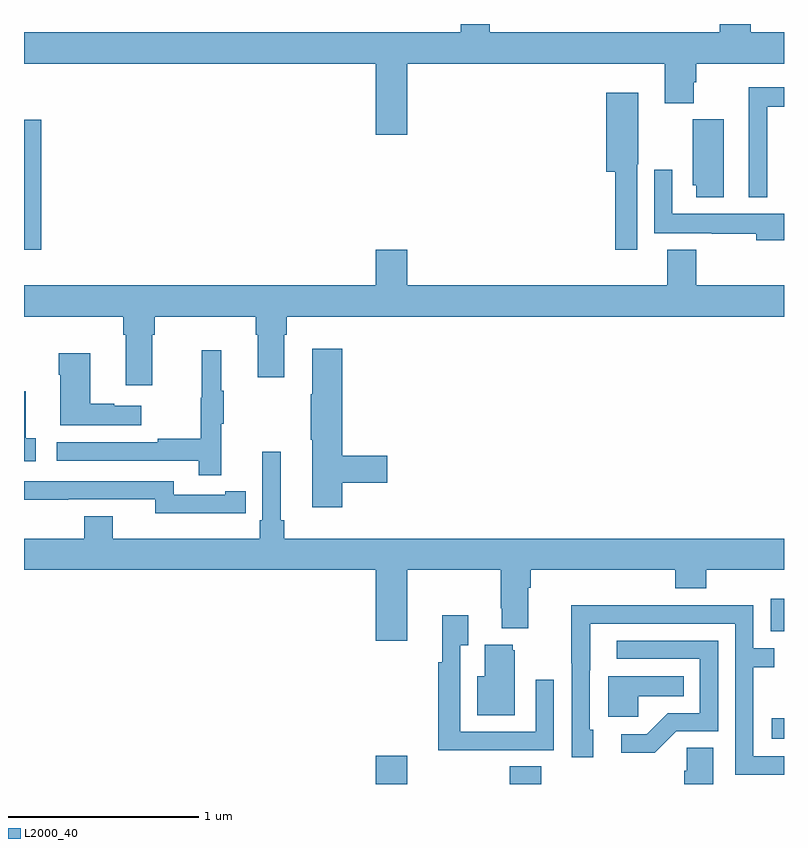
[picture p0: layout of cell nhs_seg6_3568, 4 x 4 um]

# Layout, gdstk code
import gdstk
lib = gdstk.Library(unit=1e-6, precision=1e-09)
def R(c, l, rs):  # rectangles x0, y0, x1, y1
    for r in rs: c.add(gdstk.rectangle(r[:2], r[2:], *l))
def P(c, l, *ps):  # polygons
    for p in ps: c.add(gdstk.Polygon(p, *l))
L2000_40 = (2000, 40)

nhs_seg6_3568 = lib.new_cell('nhs_seg6_3568')
R(nhs_seg6_3568, L2000_40, [(320.852,987.5,321.016,987.649), (321.557,987.5,321.722,987.593), (322.935,987.737,323,987.847), (322.929,988.305,323,988.474), (319,990.312,319.091,990.997)])
P(nhs_seg6_3568, L2000_40, [(321.016,991.292),(322.373,991.292),(322.373,991.084),(322.525,991.084),(322.525,991.193),(322.538,991.193),(322.538,991.292),(323,991.292),(323,991.456),(322.826,991.456),(322.826,991.5),(322.661,991.5),(322.661,991.456),(321.45,991.456),(321.45,991.5),(321.299,991.5),(321.299,991.456),(319,991.456),(319,991.292),(320.852,991.292),(320.852,990.918),(321.016,990.918)],
  [(322.911,991.064),(323,991.064),(323,991.168),(322.814,991.168),(322.814,990.587),(322.911,990.587)],
  [(322.227,990.762),(322.234,990.762),(322.234,991.138),(322.064,991.138),(322.064,990.722),(322.111,990.722),(322.111,990.312),(322.227,990.312)],
  [(322.684,990.999),(322.52,990.999),(322.52,990.651),(322.538,990.651),(322.538,990.588),(322.684,990.588)],
  [(323,990.502),(322.413,990.502),(322.413,990.733),(322.317,990.733),(322.317,990.398),(322.621,990.398),(322.621,990.396),(322.853,990.396),(322.853,990.362),(323,990.362)],
  [(319.675,989.864),(319.688,989.864),(319.688,989.96),(320.219,989.96),(320.219,989.864),(320.231,989.864),(320.231,989.64),(320.371,989.64),(320.371,989.864),(320.384,989.864),(320.384,989.96),(323,989.96),(323,990.124),(322.538,990.124),(322.538,990.313),(322.385,990.313),(322.385,990.124),(321.016,990.124),(321.016,990.313),(320.852,990.313),(320.852,990.124),(319,990.124),(319,989.96),(319.523,989.96),(319.523,989.864),(319.535,989.864),(319.535,989.598),(319.675,989.598)],
  [(320.675,989.086),(320.911,989.086),(320.911,989.228),(320.675,989.228),(320.675,989.791),(320.516,989.791),(320.516,989.552),(320.509,989.552),(320.509,989.311),(320.516,989.311),(320.516,988.956),(320.675,988.956)],
  [(320.039,989.395),(320.05,989.395),(320.05,989.569),(320.039,989.569),(320.039,989.782),(319.936,989.782),(319.936,989.532),(319.929,989.532),(319.929,989.318),(319.705,989.318),(319.705,989.298),(319.173,989.298),(319.173,989.202),(319.921,989.202),(319.921,989.124),(320.039,989.124)],
  [(319.618,989.491),(319.475,989.491),(319.475,989.501),(319.348,989.501),(319.348,989.767),(319.183,989.767),(319.183,989.654),(319.19,989.654),(319.19,989.387),(319.618,989.387)],
  [(319.063,989.319),(319.01,989.319),(319.01,989.566),(319,989.566),(319,989.199),(319.063,989.199)],
  [(321.016,988.628),(321.508,988.628),(321.508,988.426),(321.515,988.426),(321.515,988.319),(321.655,988.319),(321.655,988.532),(321.668,988.532),(321.668,988.628),(322.427,988.628),(322.427,988.529),(322.592,988.529),(322.592,988.628),(323,988.628),(323,988.792),(320.369,988.792),(320.369,988.888),(320.35,988.888),(320.35,989.248),(320.253,989.248),(320.253,988.888),(320.24,988.888),(320.24,988.792),(319.468,988.792),(319.468,988.909),(319.316,988.909),(319.316,988.792),(319,988.792),(319,988.628),(320.852,988.628),(320.852,988.254),(321.016,988.254)],
  [(320.06,988.926),(320.168,988.926),(320.168,989.042),(320.06,989.042),(320.06,989.022),(319.788,989.022),(319.788,989.094),(319,989.094),(319,988.997),(319.232,988.997),(319.232,988.998),(319.692,988.998),(319.692,988.925),(320.06,988.925)],
  [(323,987.645),(322.839,987.645),(322.839,988.114),(322.949,988.114),(322.949,988.215),(322.839,988.215),(322.839,988.44),(322.343,988.44),(322.343,988.442),(321.88,988.442),(321.88,988.135),(321.882,988.135),(321.882,987.642),(321.997,987.642),(321.997,987.786),(321.978,987.786),(321.978,988.099),(321.979,988.099),(321.979,988.344),(322.743,988.344),(322.743,987.549),(323,987.549)],
  [(321.473,987.678),(321.789,987.678),(321.789,988.048),(321.693,988.048),(321.693,987.774),(321.297,987.774),(321.297,988.231),(321.337,988.231),(321.337,988.387),(321.2,988.387),(321.2,988.142),(321.181,988.142),(321.181,987.677),(321.473,987.677)],
  [(322.434,987.777),(322.653,987.777),(322.653,988.254),(322.119,988.254),(322.119,988.158),(322.557,988.158),(322.557,987.873),(322.388,987.873),(322.277,987.762),(322.143,987.762),(322.143,987.665),(322.321,987.665)],
  [(321.583,988.203),(321.572,988.203),(321.572,988.234),(321.425,988.234),(321.425,988.066),(321.386,988.066),(321.386,987.863),(321.583,987.863)],
  [(322.233,987.962),(322.472,987.962),(322.472,988.066),(322.076,988.066),(322.076,987.854),(322.233,987.854)],
  [(322.627,987.692),(322.488,987.692),(322.488,987.569),(322.475,987.569),(322.475,987.5),(322.627,987.5)])

lib.write_gds('nhs_seg6_3568.gds')
